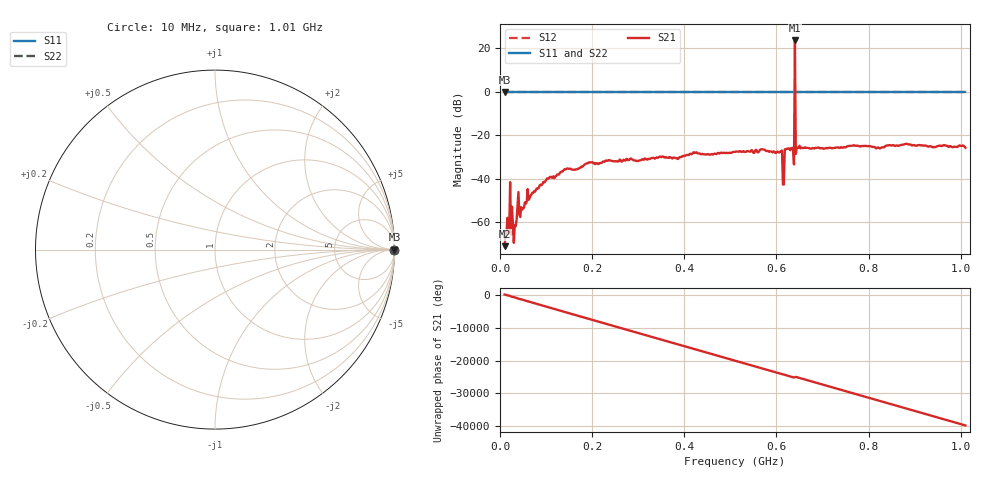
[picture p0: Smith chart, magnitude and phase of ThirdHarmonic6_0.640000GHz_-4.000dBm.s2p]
! 8/15/2025 9:09:58 PM
! C:\ANRITSUVNA\TEMP\TEMP.S2P
! CHANNEL.1
! TR.MEASUREMENT
! RAW.DATA
! RF.CORRECTION.OFF
! AVERAGING.OFF
! IF.BANDWIDTH: 5KHZ
! SWEEPTYPE:  FREQ.SWEEP(Linear)
! Reference Plane Port Info
! PORT:  PORT1  PORT2
! DISTANCE:  0  m  0  m
! TIME:  0  s  0  s
! PHASE.OFFSET:  0  deg.  0  deg.
! LOSS:  0  dB  0  dB
! REF.LOSS:  0  dB  0  dB
! REF.FREQ:  0  Hz  0  Hz
! Power Info
! POWER:  -20  dBm  -20  dBm
! EFF.POWER:  -20  dBm  -20  dBm
! SOURCE.ATTEN:  0  dB  0  dB
! TEST.ATTEN:  0  dB  0  dB
# GHZ S RI R 50.0
! FREQ.GHZ  S11RE  S11IM  S21RE  S21IM  S12RE  S12IM  S22RE  S22IM
!; PortSelection: Port_12
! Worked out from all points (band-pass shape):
!   501 points, 10 MHz to 1.01 GHz, reference 50 ohm
!   highest |S21| = 23.62 dB at 640 MHz (marker M1); lowest = -70.9 dB at 10 MHz (marker M2)
!   |S21| within 3 dB of the highest: 639.8947 MHz to 640.115 MHz (220.3 kHz wide, 0.0344 % of centre)
!   lowest |S11| = 0.0 dB at 10 MHz (marker M3)
!   |S11| at or under -10 dB: nowhere
!   |S22| runs from 0.0 to 0.0 dB; largest |S21 - S12| = 16
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0.01  1 0  -0.000284 1.27e-05  1 0  1 0
0.018  1 0  -0.000211 -0.00056  1 0  1 0
0.024  1 0  0.000302 -0.000427  1 0  1 0
0.032  1 0  0.000838 0.000149  1 0  1 0
0.042  1 0  0.000621 -0.00138  1 0  1 0
0.064  1 0  -0.00233 0.00266  1 0  1 0
0.106  1 0  -0.00742 -0.00725  1 0  1 0
0.178  1 0  -0.0185 -0.00377  1 0  1 0
0.344  1 0  0.03 -0.00831  1 0  1 0
0.51  1 0  -0.0386 0.0163  1 0  1 0
0.608  1 0  -0.0419 -0.00224  1 0  1 0
0.612  1 0  0.0411 0.0176  1 0  1 0
0.618  1 0  -0.039 0.0275  1 0  1 0
0.622  1 0  0.046 -0.0182  1 0  1 0
0.634  1 0  -0.0424 -0.0279  1 0  1 0
0.636  1 0  -0.035 0.0381  1 0  1 0
0.64  1 0  -11.96 9.318  1 0  1 0
0.644  1 0  -0.0506 0.0121  1 0  1 0
0.646  1 0  0.0025 0.052  1 0  1 0
0.678  1 0  -0.0268 -0.0436  1 0  1 0
0.844  1 0  0.0465 0.0365  1 0  1 0
1.01  1 0  -0.0516 -0.00567  1 0  1 0
